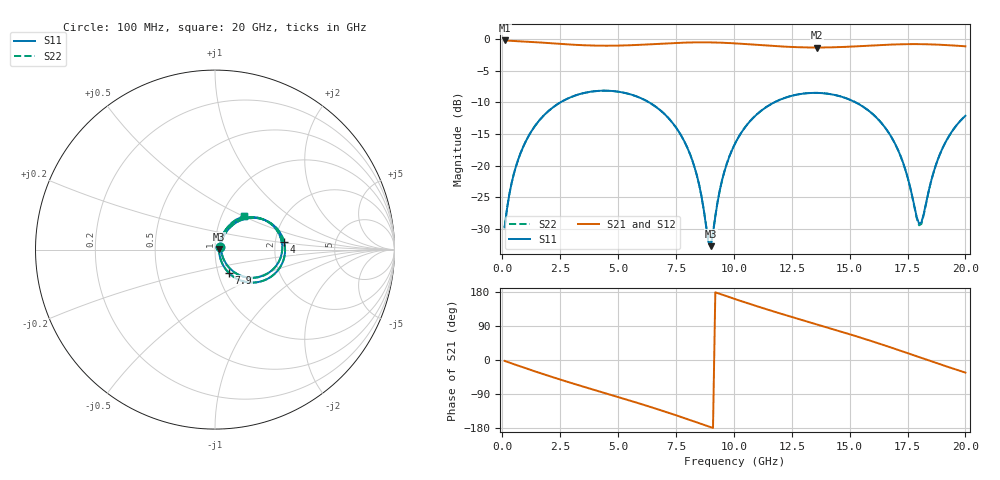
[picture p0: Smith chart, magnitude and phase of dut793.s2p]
! Touchstone file exported from HFSS 2026.1.0
!  File:  C:/ffzhzh/LocalFiles/Ansys_Project_Files/temp_train_TSV_RDL_793_1783261623_38704.aedt
!  Generated:  10:38:31 PM Jul  5, 2026
!  Design:  TSV_RDL
!  Project:  temp_train_TSV_RDL_793_1783261623_38704
! Variables:
!  h_bsmrdl = 3.33um
!  h_ox = 20um
!  h_rdl = 5um
!  h_sub = 63.31um
!  h_tmrdl = 4.01um
!  h_tsv = 63.31um
!  h_via = 3um
!  l_bsmrdl = 835.98um
!  l_sub = 6885.05um
!  l_tmrdl = 959.32um
!  m_sub = 200um
!  pitch = 39.1um
!  r_tsv = 9.62um
!  s_tmrdl = 10um
!  w_bsmrdl = 23.77um
!  w_sub = 500um
!  w_tmrdl = 22.84um
!  x_tsv_center1 = 970.74um
!  x_tsv_center2 = 1830.49um
!  x_tsv_center3 = 2812.65um
!  x_tsv_center4 = 3672.4um
!  x_tsv_center5 = 4654.56um
!  x_tsv_center6 = 5514.31um
# GHz S MA R 50.000000
! Terminal data exported
! Port[1] = TM_RDL1_1_T1
! Port[2] = TM_RDL5_1_T1
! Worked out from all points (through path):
!   200 points, 100 MHz to 20 GHz, reference 50 ohm
!   highest |S21| = -0.24 dB at 100 MHz (marker M1); lowest = -1.4 dB at 13.6 GHz (marker M2)
!   group delay of S21, straight-line fit = 54.1 ps
!   lowest |S11| = -32.7 dB at 9 GHz (marker M3), VSWR 1.05, Z = 52.3 + j0.409 ohm
!   |S11| at or under -10 dB: start of sweep to 2.516 GHz; 6.331 GHz to 11.76 GHz (5.425 GHz wide, 60 % of centre); 15.25 GHz to end of sweep
!   |S22| runs from -32.4 to -8.2 dB; largest |S21 - S12| = 1.7e-14
!   S11 on the Smith chart (normalised r, x): 100 MHz: 1.06, +0.04; 4 GHz: 2.23, +0.23; 7.9 GHz: 1.12, -0.30; 20 GHz: 1.28, +0.51
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0.1  0.03255 31.4  0.9728 -2.3  0.9728 -2.3  0.03255 31.4
! Gamma 0 0 0 0
! Port Impedance 50 0 50 0
0.5  0.0862 56.7  0.9641 -11.0  0.9641 -11.0  0.0862 56.7
1.2  0.1794 53.2  0.9491 -25.6  0.9491 -25.6  0.1794 53.2
2.2  0.2894 37.5  0.9218 -45.8  0.9218 -45.8  0.2894 37.5
3.5  0.3733 15.1  0.8922 -70.3  0.8922 -70.3  0.3733 15.1
4  0.3869 6.6  0.8863 -79.5  0.8863 -79.5  0.3869 6.6
5.5  0.3668 -19.1  0.8915 -106.9  0.8915 -106.9  0.3667 -19.1
6.8  0.2757 -41.8  0.916 -131.7  0.916 -131.7  0.2757 -41.8
7.9  0.1504 -59.4  0.9357 -154.1  0.9357 -154.1  0.1504 -59.2
8.4  0.08404 -62.5  0.9399 -164.6  0.9399 -164.6  0.08415 -62.1
9  0.02312 9.7  0.939 -177.2  0.939 -177.2  0.0239 9.6
9.5  0.07771 62.4  0.9333 172.3  0.9333 172.3  0.07806 61.8
10.1  0.1551 59.1  0.9214 159.8  0.9214 159.8  0.1554 58.7
11.5  0.2978 36.7  0.8848 132.2  0.8848 132.2  0.2979 36.5
13.4  0.3749 4.9  0.8559 97.3  0.8559 97.3  0.375 4.7
13.6  0.375 1.6  0.8557 93.7  0.8557 93.7  0.3751 1.4
15.2  0.3197 -24.8  0.8722 64.3  0.8722 64.3  0.3198 -25.1
16.7  0.1803 -47.9  0.901 34.8  0.901 34.8  0.1802 -48.4
17.4  0.09402 -51.2  0.9092 20.3  0.9092 20.3  0.09373 -52.0
18  0.03472 -2.5  0.9101 7.7  0.9101 7.7  0.03374 -2.9
18.9  0.1232 61.2  0.8999 -11.1  0.8999 -11.1  0.1229 61.5
20  0.2476 48.5  0.875 -33.3  0.875 -33.3  0.2475 48.5
